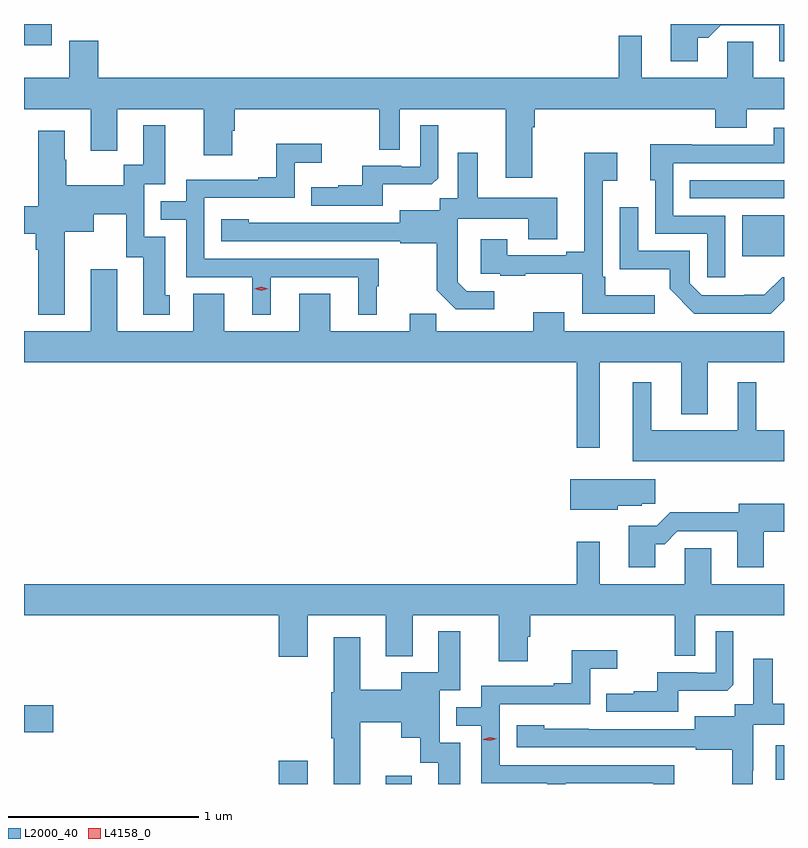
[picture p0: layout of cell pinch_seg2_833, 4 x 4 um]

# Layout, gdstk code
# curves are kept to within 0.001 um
import gdstk
lib = gdstk.Library(unit=1e-6, precision=1e-09)
def R(c, l, rs):  # rectangles x0, y0, x1, y1
    for r in rs: c.add(gdstk.rectangle(r[:2], r[2:], *l))
def P(c, l, *ps):  # polygons
    for p in ps: c.add(gdstk.Polygon(p, *l))
L2000_40 = (2000, 40)
L4158_0 = (4158, 0)

pinch_seg2_833 = lib.new_cell('pinch_seg2_833')
R(pinch_seg2_833, L2000_40, [(803.615,600.128,803.767,600.25), (804.179,600.128,804.316,600.172), (806.231,600.15,806.274,600.331), (802.274,600.401,802.429,600.543), (806.054,602.906,806.274,603.121), (805.777,603.21,806.274,603.306), (802.274,604.016,802.42,604.128)])
P(pinch_seg2_833, L2000_40, [(805.819,604.055),(805.874,604.055),(805.941,604.122),(806.249,604.122),(806.249,603.933),(806.274,603.933),(806.274,604.128),(805.679,604.128),(805.679,603.933),(805.819,603.933)],
  [(802.625,603.462),(802.765,603.462),(802.765,603.68),(803.219,603.68),(803.219,603.438),(803.371,603.438),(803.371,603.567),(803.384,603.567),(803.384,603.68),(804.144,603.68),(804.144,603.466),(804.252,603.466),(804.252,603.68),(804.809,603.68),(804.809,603.318),(804.949,603.318),(804.949,603.584),(804.962,603.584),(804.962,603.68),(805.913,603.68),(805.913,603.581),(806.077,603.581),(806.077,603.68),(806.274,603.68),(806.274,603.844),(806.113,603.844),(806.113,604.034),(805.974,604.034),(805.974,603.844),(805.525,603.844),(805.525,604.066),(805.404,604.066),(805.404,603.844),(802.664,603.844),(802.664,604.039),(802.511,604.039),(802.511,603.844),(802.274,603.844),(802.274,603.68),(802.625,603.68)],
  [(804.163,603.284),(804.421,603.284),(804.453,603.315),(804.453,603.595),(804.36,603.595),(804.36,603.378),(804.26,603.378),(804.26,603.381),(804.053,603.381),(804.053,603.28),(803.929,603.28),(803.929,603.268),(803.785,603.268),(803.785,603.171),(804.163,603.171)],
  [(802.489,603.035),(802.642,603.035),(802.642,603.128),(802.812,603.128),(802.812,602.901),(802.901,602.901),(802.901,602.598),(803.041,602.598),(803.041,602.7),(803.017,602.7),(803.017,603.009),(802.908,603.009),(802.908,603.285),(803.017,603.285),(803.017,603.595),(802.901,603.595),(802.901,603.386),(802.8,603.386),(802.8,603.28),(802.497,603.28),(802.497,603.414),(802.489,603.414),(802.489,603.565),(802.349,603.565),(802.349,603.17),(802.274,603.17),(802.274,603.023),(802.337,603.023),(802.337,602.939),(802.349,602.939),(802.349,602.597),(802.489,602.597)],
  [(805.965,603.12),(805.692,603.12),(805.692,603.396),(806.274,603.396),(806.274,603.583),(806.219,603.583),(806.219,603.492),(805.789,603.492),(805.789,603.494),(805.571,603.494),(805.571,603.306),(805.596,603.306),(805.596,603.024),(805.869,603.024),(805.869,602.796),(805.965,602.796)],
  [(803.572,602.796),(804.032,602.796),(804.032,602.597),(804.13,602.597),(804.13,602.748),(804.142,602.748),(804.142,602.892),(803.223,602.892),(803.223,603.213),(803.7,603.213),(803.7,603.398),(803.842,603.398),(803.842,603.497),(803.602,603.497),(803.602,603.322),(803.507,603.322),(803.507,603.309),(803.127,603.309),(803.127,603.195),(802.993,603.195),(802.993,603.099),(803.127,603.099),(803.127,602.796),(803.474,602.796),(803.474,602.597),(803.572,602.597)],
  [(804.748,602.721),(804.603,602.721),(804.556,602.768),(804.556,602.863),(804.558,602.863),(804.558,603.104),(804.929,603.104),(804.929,602.995),(805.081,602.995),(805.081,603.214),(804.661,603.214),(804.661,603.451),(804.557,603.451),(804.557,603.212),(804.462,603.212),(804.462,603.148),(804.251,603.148),(804.251,603.081),(803.457,603.082),(803.457,603.1),(803.313,603.1),(803.313,602.985),(804.255,602.985),(804.255,602.973),(804.447,602.973),(804.447,602.727),(804.547,602.627),(804.748,602.627)],
  [(805.594,602.701),(805.333,602.701),(805.333,602.797),(805.32,602.797),(805.32,603.302),(805.396,603.302),(805.396,603.451),(805.223,603.451),(805.223,602.929),(805.127,602.929),(805.127,602.91),(804.817,602.91),(804.817,602.995),(804.677,602.995),(804.677,602.814),(804.781,602.814),(804.781,602.802),(804.913,602.802),(804.913,602.813),(805.212,602.813),(805.212,602.604),(805.594,602.604)],
  [(806.274,602.673),(806.274,602.796),(806.265,602.796),(806.171,602.702),(806.066,602.702),(806.066,602.7),(805.842,602.7),(805.779,602.763),(805.779,602.934),(805.506,602.934),(805.506,603.163),(805.41,603.163),(805.41,602.837),(805.672,602.837),(805.672,602.735),(805.802,602.604),(806.205,602.604)],
  [(802.625,602.836),(802.625,602.512),(802.274,602.512),(802.274,602.348),(805.182,602.348),(805.182,601.899),(805.303,601.899),(805.303,602.348),(805.733,602.348),(805.733,602.075),(805.873,602.075),(805.873,602.348),(806.274,602.348),(806.274,602.512),(805.117,602.512),(805.117,602.611),(804.953,602.611),(804.953,602.512),(804.443,602.512),(804.443,602.603),(804.305,602.603),(804.305,602.512),(803.887,602.512),(803.887,602.707),(803.723,602.707),(803.723,602.512),(803.329,602.512),(803.329,602.707),(803.165,602.707),(803.165,602.512),(802.765,602.512),(802.765,602.836)],
  [(806.274,601.99),(806.128,601.99),(806.128,602.242),(806.03,602.242),(806.03,601.99),(805.576,601.99),(805.576,602.242),(805.478,602.242),(805.478,601.826),(806.274,601.826)],
  [(805.398,601.592),(805.524,601.592),(805.524,601.603),(805.597,601.603),(805.597,601.732),(805.148,601.732),(805.148,601.571),(805.398,601.571)],
  [(805.597,601.391),(805.646,601.391),(805.713,601.458),(806.027,601.458),(806.027,601.269),(806.167,601.269),(806.167,601.455),(806.274,601.455),(806.274,601.603),(806.036,601.603),(806.036,601.559),(805.676,601.559),(805.605,601.488),(805.457,601.488),(805.457,601.269),(805.597,601.269)],
  [(804.925,600.903),(804.938,600.903),(804.938,601.016),(805.698,601.016),(805.698,600.802),(805.806,600.802),(805.806,601.016),(806.274,601.016),(806.274,601.18),(805.891,601.18),(805.891,601.37),(805.752,601.37),(805.752,601.18),(805.303,601.18),(805.303,601.402),(805.182,601.402),(805.182,601.18),(802.274,601.18),(802.274,601.016),(803.615,601.016),(803.615,600.798),(803.767,600.798),(803.767,601.016),(804.179,601.016),(804.179,600.8),(804.319,600.8),(804.319,601.016),(804.773,601.016),(804.773,600.774),(804.925,600.774)],
  [(805.717,600.62),(805.975,600.62),(806.007,600.651),(806.007,600.931),(805.914,600.931),(805.914,600.714),(805.814,600.714),(805.814,600.717),(805.607,600.717),(805.607,600.616),(805.483,600.616),(805.483,600.604),(805.339,600.604),(805.339,600.507),(805.717,600.507)],
  [(804.043,600.452),(804.26,600.452),(804.26,600.371),(804.359,600.371),(804.359,600.24),(804.455,600.24),(804.455,600.128),(804.571,600.128),(804.571,600.345),(804.462,600.345),(804.462,600.621),(804.571,600.621),(804.571,600.931),(804.455,600.931),(804.455,600.715),(804.26,600.715),(804.26,600.624),(804.043,600.624),(804.043,600.901),(803.903,600.901),(803.903,600.612),(803.891,600.612),(803.891,600.368),(803.903,600.368),(803.903,600.128),(804.043,600.128)],
  [(805.126,600.132),(805.586,600.132),(805.586,600.128),(805.696,600.128),(805.696,600.228),(804.777,600.228),(804.777,600.549),(805.254,600.549),(805.254,600.734),(805.396,600.734),(805.396,600.833),(805.156,600.833),(805.156,600.658),(805.061,600.658),(805.061,600.645),(804.681,600.645),(804.681,600.531),(804.548,600.531),(804.548,600.435),(804.681,600.435),(804.681,600.132),(805.028,600.132),(805.028,600.128),(805.126,600.128)],
  [(806.11,600.199),(806.112,600.199),(806.112,600.44),(806.274,600.44),(806.274,600.55),(806.215,600.55),(806.215,600.787),(806.111,600.787),(806.111,600.548),(806.016,600.548),(806.016,600.484),(805.805,600.484),(805.805,600.417),(805.247,600.417),(805.247,600.418),(805.011,600.418),(805.011,600.436),(804.867,600.436),(804.867,600.321),(805.809,600.321),(805.809,600.309),(806.001,600.309),(806.001,600.128),(806.11,600.128)])
P(pinch_seg2_833, L4158_0, [(804.728,600.355),(804.692,600.362),(804.692,600.362),(804.692,600.363),(804.726,600.375),(804.761,600.367),(804.762,600.367),(804.761,600.367)],
  [(803.523,602.725),(803.487,602.735),(803.487,602.735),(803.487,602.735),(803.523,602.745),(803.559,602.735),(803.559,602.735),(803.559,602.735)])

lib.write_gds('pinch_seg2_833.gds')
